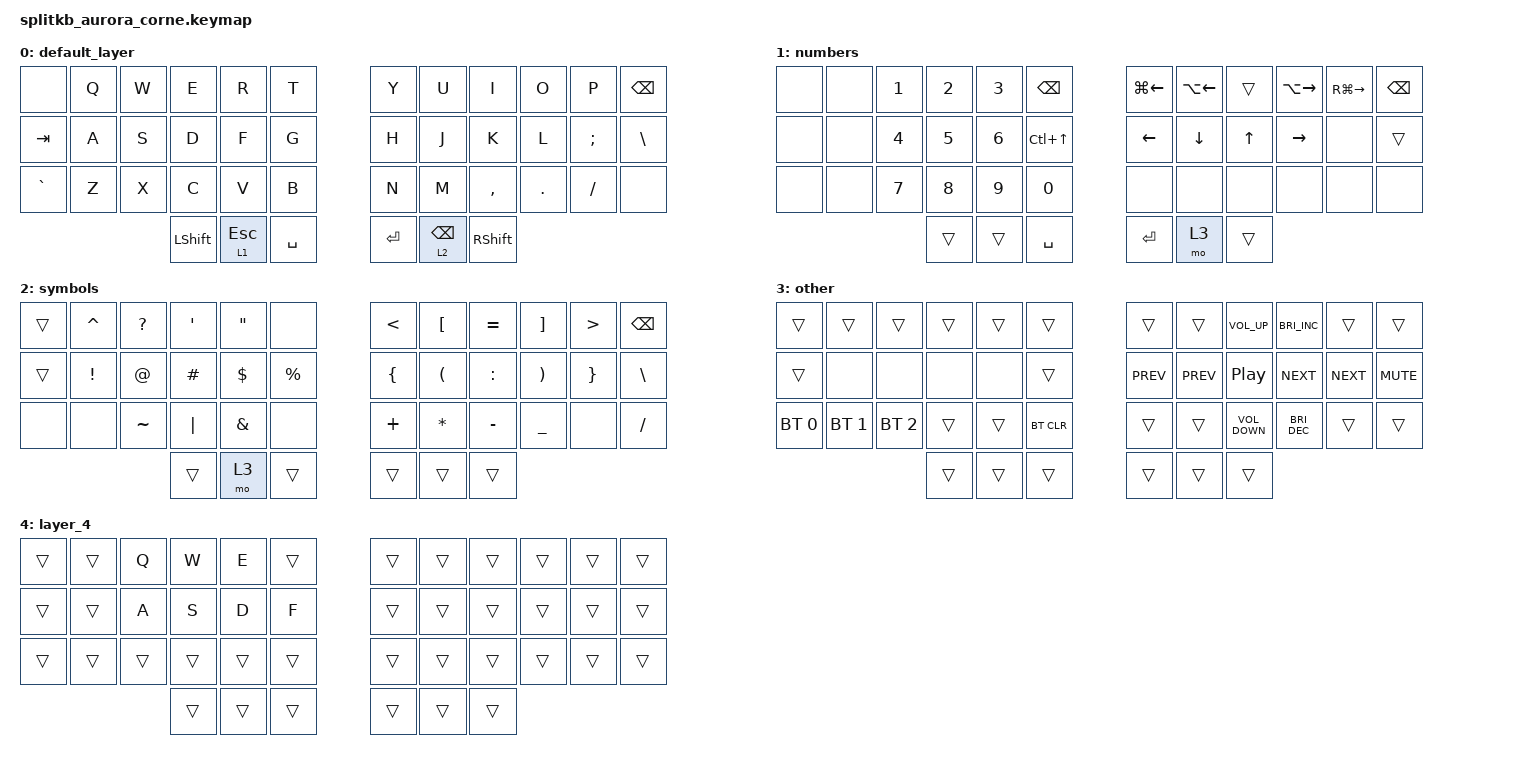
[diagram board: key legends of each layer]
/*
 * Copyright (c) 2020 The ZMK Contributors
 *
 * SPDX-License-Identifier: MIT
 */

#include <behaviors.dtsi>
#include <dt-bindings/zmk/bt.h>
#include <dt-bindings/zmk/keys.h>

&lt {
    flavor = "hold-preferred";
    tapping-term-ms = <150>;
};

/ {
    behaviors {
        mo_kp: behavior_mo_tog {
            compatible = "zmk,behavior-hold-tap";
            label = "mo_tog";
            #binding-cells = <2>;
            flavor = "hold-preferred";
            tapping-term-ms = <150>;
            bindings = <&mo>, <&kp>;
        };

        hrt_lh: hrt_lh {
            compatible = "zmk,behavior-hold-tap";
            label = "HOMEROW_LEFT";
            #binding-cells = <2>;
            flavor = "balanced";
            tapping-term-ms = <300>;
            bindings = <&kp>, <&kp>;

            hold-trigger-key-positions = <19 20 21 22 18 10 9 8 7 6 30 31 33 32 34 11 23 35 39 40 41>;
            require-prior-idle-ms = <150>;
            hold-trigger-on-release;
        };

        hrt_rh: hrt_rh {
            compatible = "zmk,behavior-hold-tap";
            label = "HOMEROW_RH";
            #binding-cells = <2>;
            flavor = "balanced";
            tapping-term-ms = <300>;
            bindings = <&kp>, <&kp>;

            hold-trigger-key-positions = <5 4 3 2 1 0 1 2 3 4 5 12 13 14 15 16 17 24 25 26 27 28 29 38 37 36>;
            require-prior-idle-ms = <150>;
            hold-trigger-on-release;
        };
    };

    combos {
        compatible = "zmk,combos";

        hmr_ctrl_l {
            bindings = <&kp RCTRL>;
            key-positions = <16 15>;
        };

        hrm_gui_l {
            bindings = <&kp LEFT_GUI>;
            key-positions = <14 15>;
        };

        hrm_alt_l {
            bindings = <&kp LEFT_ALT>;
            key-positions = <14 13>;
        };

        hrm_ctrl_r {
            bindings = <&kp RCTRL>;
            key-positions = <19 20>;
        };

        hrm_gui_r {
            bindings = <&kp LEFT_GUI>;
            key-positions = <20 21>;
        };

        hmr_alt_r {
            bindings = <&kp LEFT_ALT>;
            key-positions = <21 22>;
        };

        hmr_ctrl_cmd_l {
            bindings = <&kp LC(LEFT_GUI)>;
            key-positions = <16 15 14>;
        };

        hmr_ctrl_cmd_r {
            bindings = <&kp RC(RGUI)>;
            key-positions = <19 20 21>;
        };

        hmr_ctrl_alt_l {
            bindings = <&kp LC(LEFT_ALT)>;
            key-positions = <15 16 13>;
        };

        hmr_ctrl_alt_r {
            bindings = <&kp LC(RALT)>;
            key-positions = <19 20 22>;
        };

        hmr_cmd_alt_l {
            bindings = <&kp LA(LGUI)>;
            key-positions = <15 14 13>;
        };

        hmr_cmd_alt_r {
            bindings = <&kp LA(RGUI)>;
            key-positions = <20 21 22>;
        };
    };

    keymap {
        compatible = "zmk,keymap";

        default_layer {
            // -----------------------------------------------------------------------------------------
            // | TAB      |  Q  |  W  |  E  |  R  |  T  |   |  Y  |  U   |  I  |  O  |  P  | BKSP |
            // | CTRL+ESC |  A  |  S  |  D  |  F  |  G  |   |  H  |  J   |  K  |  L  |  ;  |  '   |
            // | ALT      |  Z  |  X  |  C  |  V  |  B  |   |  N  |  M   |  ,  |  .  |  /  | ESC  |
            //                    | GUI | LWR | SPC |   | ENT | RSE  | ALT |

            bindings = <
&none      &kp Q  &kp W  &kp E           &kp R      &kp T        &kp Y      &kp U            &kp I            &kp O    &kp P          &kp BSPC
&kp TAB    &kp A  &kp S  &kp D           &kp F      &kp G        &kp H      &kp J            &kp K            &kp L    &kp SEMICOLON  &kp BACKSLASH
&kp GRAVE  &kp Z  &kp X  &kp C           &kp V      &kp B        &kp N      &kp M            &kp COMMA        &kp DOT  &kp FSLH       &none
                         &kp LEFT_SHIFT  &lt 1 ESC  &kp SPACE    &kp ENTER  &lt 2 BACKSPACE  &kp RIGHT_SHIFT
            >;
        };

        numbers {
            // -----------------------------------------------------------------------------------------
            // |  TAB |  1  |  2  |  3  |  4  |  5  |   |  6  |  7  |  8  |  9  |  0  | BKSP |
            // |      |     |     |     |     |     |   | LFT | DWN |  UP | RGT |     |      |
            // | SHFT | BT1 | BT2 | BT3 | BT4 | BT5 |   |     |     |     |     |     | BTCLR|
            //                    | GUI |     | SPC |   | ENT |     | ALT |

            bindings = <
&none  &none  &kp NUMBER_1  &kp NUMBER_2  &kp NUMBER_3  &kp BACKSPACE       &kp LG(LEFT)  &kp LA(LEFT)  &trans        &kp LA(RIGHT)  &kp RG(RIGHT)  &kp BSPC
&none  &none  &kp NUMBER_4  &kp N5        &kp NUMBER_6  &kp LC(UP_ARROW)    &kp LEFT      &kp DOWN      &kp UP_ARROW  &kp RIGHT      &none          &trans
&none  &none  &kp NUMBER_7  &kp NUMBER_8  &kp NUMBER_9  &kp N0              &none         &none         &none         &none          &none          &none
                            &trans        &trans        &kp SPACE           &kp RET       &mo 3         &trans
            >;
        };

        symbols {
            // -----------------------------------------------------------------------------------------
            // |  TAB     |  !  |  @  |  #  |  $  |  %  |   |  ^  |  &  |  *  |  (  |  )  | BKSP |
            // | CTRL+ESC |     |     |     |     |     |   |  -  |  =  |  [  |  ]  |  \  |  `   |
            // | SHFT     |     |     |     |     |     |   |  _  |  +  |  {  |  }  | "|" |  ~   |
            //                    | GUI |     | SPC |   | ENT |     | ALT |

            bindings = <
&trans  &kp CARET        &kp QUESTION  &kp SQT   &kp DOUBLE_QUOTES  &none          &kp LESS_THAN   &kp LEFT_BRACKET      &kp EQUAL  &kp RIGHT_BRACKET      &kp GREATER_THAN  &kp BSPC
&trans  &kp EXCLAMATION  &kp AT_SIGN   &kp HASH  &kp DOLLAR         &kp PERCENT    &kp LEFT_BRACE  &kp LEFT_PARENTHESIS  &kp COLON  &kp RIGHT_PARENTHESIS  &kp RIGHT_BRACE   &kp BACKSLASH
&none   &none            &kp TILDE     &kp PIPE  &kp AMPERSAND      &none          &kp PLUS        &kp ASTERISK          &kp MINUS  &kp UNDERSCORE         &none             &kp FSLH
                                       &trans    &mo 3              &trans         &trans          &trans                &trans
            >;
        };

        other {
            bindings = <
&trans        &trans        &trans        &trans  &trans  &trans        &trans      &trans      &kp C_VOLUME_UP    &kp C_BRIGHTNESS_INC  &trans      &trans
&trans        &none         &none         &none   &none   &trans        &kp C_PREV  &kp C_PREV  &kp C_PLAY_PAUSE   &kp C_NEXT            &kp C_NEXT  &kp C_MUTE
&bt BT_SEL 0  &bt BT_SEL 1  &bt BT_SEL 2  &trans  &trans  &bt BT_CLR    &trans      &trans      &kp C_VOLUME_DOWN  &kp C_BRIGHTNESS_DEC  &trans      &trans
                                          &trans  &trans  &trans        &trans      &trans      &trans
            >;
        };

        layer_4 {
            bindings = <
&trans  &trans  &kp Q   &kp W   &kp E   &trans    &trans  &trans  &trans  &trans  &trans  &trans
&trans  &trans  &kp A   &kp S   &kp D   &kp F     &trans  &trans  &trans  &trans  &trans  &trans
&trans  &trans  &trans  &trans  &trans  &trans    &trans  &trans  &trans  &trans  &trans  &trans
                        &trans  &trans  &trans    &trans  &trans  &trans
            >;
        };
    };
};
